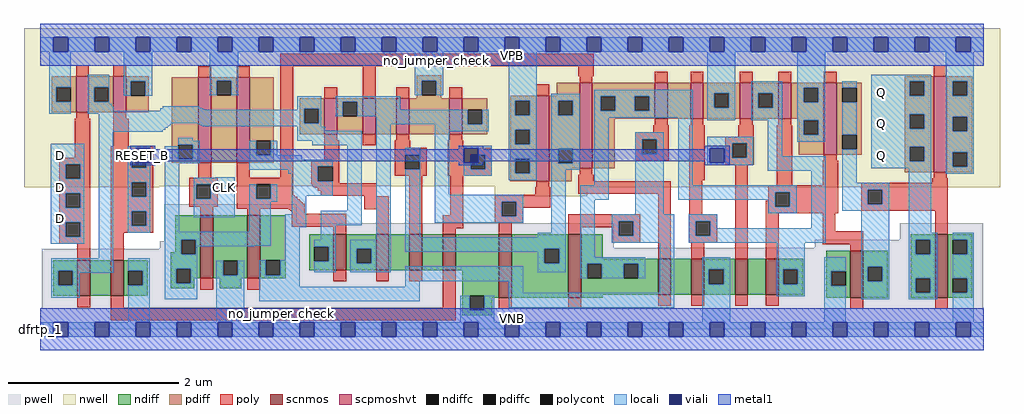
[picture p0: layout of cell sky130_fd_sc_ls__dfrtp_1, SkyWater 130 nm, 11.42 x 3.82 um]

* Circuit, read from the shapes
.subckt sky130_fd_sc_ls__dfrtp_1 CLK D RESET_B VGND VNB VPB VPWR Q
XM1 n1 D n2 VNB sky130_fd_pr__nfet_01v8 w=0.42 l=0.15
XM2 VGND RESET_B n1 VNB sky130_fd_pr__nfet_01v8 w=0.42 l=0.15
XM3 VGND CLK n3 VNB sky130_fd_pr__nfet_01v8 w=0.74 l=0.15
XM4 n4 n3 VGND VNB sky130_fd_pr__nfet_01v8 w=0.74 l=0.15
XM5 n5 n3 n2 VNB sky130_fd_pr__nfet_01v8 w=0.42 l=0.15
XM6 n6 n4 n5 VNB sky130_fd_pr__nfet_01v8 w=0.42 l=0.15
XM7 n7 n8 n6 VNB sky130_fd_pr__nfet_01v8 w=0.42 l=0.15
XM8 VGND RESET_B n7 VNB sky130_fd_pr__nfet_01v8 w=0.42 l=0.15
XM9 n8 n5 VGND VNB sky130_fd_pr__nfet_01v8 w=0.74 l=0.15
XM10 n9 n4 n8 VNB sky130_fd_pr__nfet_01v8 w=0.74 l=0.15
XM11 n10 n3 n9 VNB sky130_fd_pr__nfet_01v8 w=0.42 l=0.15
XM12 VGND n11 n10 VNB sky130_fd_pr__nfet_01v8 w=0.42 l=0.15
XM13 n12 RESET_B VGND VNB sky130_fd_pr__nfet_01v8 w=0.42 l=0.15
XM14 n11 n9 n12 VNB sky130_fd_pr__nfet_01v8 w=0.42 l=0.15
XM15 n13 n9 VGND VNB sky130_fd_pr__nfet_01v8 w=0.55 l=0.15
XM16 VGND n13 Q VNB sky130_fd_pr__nfet_01v8 w=0.74 l=0.15
XM17 n2 D VPWR VPB sky130_fd_pr__pfet_01v8_hvt w=0.42 l=0.15
XM18 VPWR RESET_B n2 VPB sky130_fd_pr__pfet_01v8_hvt w=0.42 l=0.15
XM19 VPWR CLK n3 VPB sky130_fd_pr__pfet_01v8_hvt w=1 l=0.15
XM20 n4 n3 VPWR VPB sky130_fd_pr__pfet_01v8_hvt w=1 l=0.15
XM21 n5 n4 n2 VPB sky130_fd_pr__pfet_01v8_hvt w=0.42 l=0.15
XM22 n14 n3 n5 VPB sky130_fd_pr__pfet_01v8_hvt w=0.42 l=0.15
XM23 VPWR n8 n14 VPB sky130_fd_pr__pfet_01v8_hvt w=0.42 l=0.15
XM24 n5 RESET_B VPWR VPB sky130_fd_pr__pfet_01v8_hvt w=0.42 l=0.15
XM25 n8 n5 VPWR VPB sky130_fd_pr__pfet_01v8_hvt w=1 l=0.15
XM26 n9 n3 n8 VPB sky130_fd_pr__pfet_01v8_hvt w=1 l=0.15
XM27 n15 n4 n9 VPB sky130_fd_pr__pfet_01v8_hvt w=0.42 l=0.15
XM28 VPWR n11 n15 VPB sky130_fd_pr__pfet_01v8_hvt w=0.42 l=0.15
XM29 n11 RESET_B VPWR VPB sky130_fd_pr__pfet_01v8_hvt w=0.42 l=0.15
XM30 VPWR n9 n11 VPB sky130_fd_pr__pfet_01v8_hvt w=0.42 l=0.15
XM31 n13 n9 VPWR VPB sky130_fd_pr__pfet_01v8_hvt w=0.84 l=0.15
XM32 VPWR n13 Q VPB sky130_fd_pr__pfet_01v8_hvt w=1.12 l=0.15
.ends

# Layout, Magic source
magic
tech sky130A
magscale 1 2
<< nwell >>
rect -38 335 2246 704
rect -38 332 278 335
rect 1064 332 2246 335
rect 1064 311 1280 332
<< pwell >>
rect 290 248 600 293
rect 290 206 1342 248
rect 2011 210 2207 248
rect 280 191 1342 206
rect 1813 191 2207 210
rect 280 188 2207 191
rect 4 49 2207 188
rect 0 0 2208 49
<< scnmos >>
rect 87 78 117 162
rect 165 78 195 162
rect 375 119 405 267
rect 485 119 515 267
rect 686 138 716 222
rect 786 138 816 222
rect 864 138 894 222
rect 942 138 972 222
rect 1073 74 1103 222
rect 1236 74 1266 222
rect 1446 81 1476 165
rect 1524 81 1554 165
rect 1626 81 1656 165
rect 1698 81 1728 165
rect 1896 74 1926 184
rect 2094 74 2124 222
<< scpmoshvt >>
rect 84 508 114 592
rect 171 508 201 592
rect 370 390 400 590
rect 460 390 490 590
rect 665 457 695 541
rect 755 457 785 541
rect 833 457 863 541
rect 957 457 987 541
rect 1161 347 1191 547
rect 1262 377 1292 577
rect 1438 493 1468 577
rect 1522 493 1552 577
rect 1637 493 1667 577
rect 1727 493 1757 577
rect 1834 409 1864 577
rect 2091 368 2121 592
<< ndiff >>
rect 316 210 375 267
rect 316 180 330 210
rect 306 176 330 180
rect 364 176 375 210
rect 30 137 87 162
rect 30 103 42 137
rect 76 103 87 137
rect 30 78 87 103
rect 117 78 165 162
rect 195 137 252 162
rect 195 103 206 137
rect 240 103 252 137
rect 195 78 252 103
rect 306 142 375 176
rect 306 108 318 142
rect 352 119 375 142
rect 405 160 485 267
rect 405 126 428 160
rect 462 126 485 160
rect 405 119 485 126
rect 515 161 574 267
rect 515 127 528 161
rect 562 127 574 161
rect 629 193 686 222
rect 629 159 641 193
rect 675 159 686 193
rect 629 138 686 159
rect 716 189 786 222
rect 716 155 741 189
rect 775 155 786 189
rect 716 138 786 155
rect 816 138 864 222
rect 894 138 942 222
rect 972 138 1073 222
rect 515 119 574 127
rect 352 108 360 119
rect 306 96 360 108
rect 420 96 470 119
rect 987 79 1073 138
rect 987 45 1005 79
rect 1039 74 1073 79
rect 1103 188 1236 222
rect 1103 154 1180 188
rect 1214 154 1236 188
rect 1103 74 1236 154
rect 1266 165 1316 222
rect 2037 210 2094 222
rect 1266 153 1446 165
rect 1266 119 1280 153
rect 1314 119 1366 153
rect 1400 119 1446 153
rect 1266 81 1446 119
rect 1476 81 1524 165
rect 1554 140 1626 165
rect 1554 106 1565 140
rect 1599 106 1626 140
rect 1554 81 1626 106
rect 1656 81 1698 165
rect 1728 140 1785 165
rect 1728 106 1739 140
rect 1773 106 1785 140
rect 1728 81 1785 106
rect 1839 136 1896 184
rect 1839 102 1851 136
rect 1885 102 1896 136
rect 1266 74 1316 81
rect 1039 45 1058 74
rect 1839 74 1896 102
rect 1926 146 1983 184
rect 1926 112 1937 146
rect 1971 112 1983 146
rect 1926 74 1983 112
rect 2037 176 2049 210
rect 2083 176 2094 210
rect 2037 120 2094 176
rect 2037 86 2049 120
rect 2083 86 2094 120
rect 2037 74 2094 86
rect 2124 210 2181 222
rect 2124 176 2135 210
rect 2169 176 2181 210
rect 2124 120 2181 176
rect 2124 86 2135 120
rect 2169 86 2181 120
rect 2124 74 2181 86
rect 987 33 1058 45
<< pdiff >>
rect 27 567 84 592
rect 27 533 37 567
rect 71 533 84 567
rect 27 508 84 533
rect 114 567 171 592
rect 114 533 126 567
rect 160 533 171 567
rect 114 508 171 533
rect 201 580 254 592
rect 201 546 212 580
rect 246 546 254 580
rect 201 508 254 546
rect 308 432 370 590
rect 308 398 323 432
rect 357 398 370 432
rect 308 390 370 398
rect 400 582 460 590
rect 400 548 413 582
rect 447 548 460 582
rect 400 390 460 548
rect 490 441 547 590
rect 490 407 505 441
rect 539 407 547 441
rect 490 390 547 407
rect 881 582 939 594
rect 881 548 893 582
rect 927 548 939 582
rect 2023 580 2091 592
rect 881 541 939 548
rect 1209 547 1262 577
rect 607 516 665 541
rect 607 482 618 516
rect 652 482 665 516
rect 607 457 665 482
rect 695 533 755 541
rect 695 499 708 533
rect 742 499 755 533
rect 695 457 755 499
rect 785 457 833 541
rect 863 457 957 541
rect 987 514 1046 541
rect 987 480 1000 514
rect 1034 480 1046 514
rect 987 457 1046 480
rect 1100 535 1161 547
rect 1100 501 1112 535
rect 1146 501 1161 535
rect 1100 467 1161 501
rect 1100 433 1112 467
rect 1146 433 1161 467
rect 1100 399 1161 433
rect 1100 365 1112 399
rect 1146 365 1161 399
rect 1100 347 1161 365
rect 1191 535 1262 547
rect 1191 501 1212 535
rect 1246 501 1262 535
rect 1191 423 1262 501
rect 1191 389 1212 423
rect 1246 389 1262 423
rect 1191 377 1262 389
rect 1292 545 1438 577
rect 1292 511 1312 545
rect 1346 511 1391 545
rect 1425 511 1438 545
rect 1292 493 1438 511
rect 1468 493 1522 577
rect 1552 552 1637 577
rect 1552 518 1577 552
rect 1611 518 1637 552
rect 1552 493 1637 518
rect 1667 552 1727 577
rect 1667 518 1680 552
rect 1714 518 1727 552
rect 1667 493 1727 518
rect 1757 565 1834 577
rect 1757 531 1787 565
rect 1821 531 1834 565
rect 1757 493 1834 531
rect 1292 377 1345 493
rect 1775 489 1834 493
rect 1191 347 1244 377
rect 1775 455 1787 489
rect 1821 455 1834 489
rect 1775 409 1834 455
rect 1864 565 1923 577
rect 1864 531 1877 565
rect 1911 531 1923 565
rect 1864 455 1923 531
rect 1864 421 1877 455
rect 1911 421 1923 455
rect 1864 409 1923 421
rect 2023 546 2035 580
rect 2069 546 2091 580
rect 2023 503 2091 546
rect 2023 469 2035 503
rect 2069 469 2091 503
rect 2023 427 2091 469
rect 2023 393 2035 427
rect 2069 393 2091 427
rect 2023 368 2091 393
rect 2121 580 2181 592
rect 2121 546 2135 580
rect 2169 546 2181 580
rect 2121 497 2181 546
rect 2121 463 2135 497
rect 2169 463 2181 497
rect 2121 414 2181 463
rect 2121 380 2135 414
rect 2169 380 2181 414
rect 2121 368 2181 380
<< ndiffc >>
rect 330 176 364 210
rect 42 103 76 137
rect 206 103 240 137
rect 318 108 352 142
rect 428 126 462 160
rect 528 127 562 161
rect 641 159 675 193
rect 741 155 775 189
rect 1005 45 1039 79
rect 1180 154 1214 188
rect 1280 119 1314 153
rect 1366 119 1400 153
rect 1565 106 1599 140
rect 1739 106 1773 140
rect 1851 102 1885 136
rect 1937 112 1971 146
rect 2049 176 2083 210
rect 2049 86 2083 120
rect 2135 176 2169 210
rect 2135 86 2169 120
<< pdiffc >>
rect 37 533 71 567
rect 126 533 160 567
rect 212 546 246 580
rect 323 398 357 432
rect 413 548 447 582
rect 505 407 539 441
rect 893 548 927 582
rect 618 482 652 516
rect 708 499 742 533
rect 1000 480 1034 514
rect 1112 501 1146 535
rect 1112 433 1146 467
rect 1112 365 1146 399
rect 1212 501 1246 535
rect 1212 389 1246 423
rect 1312 511 1346 545
rect 1391 511 1425 545
rect 1577 518 1611 552
rect 1680 518 1714 552
rect 1787 531 1821 565
rect 1787 455 1821 489
rect 1877 531 1911 565
rect 1877 421 1911 455
rect 2035 546 2069 580
rect 2035 469 2069 503
rect 2035 393 2069 427
rect 2135 546 2169 580
rect 2135 463 2169 497
rect 2135 380 2169 414
<< poly >>
rect 84 592 114 618
rect 171 592 201 618
rect 370 590 400 616
rect 460 590 490 616
rect 562 615 1295 645
rect 84 493 114 508
rect 171 493 201 508
rect 81 402 117 493
rect 171 428 207 493
rect 44 386 117 402
rect 44 352 60 386
rect 94 352 117 386
rect 44 318 117 352
rect 44 284 60 318
rect 94 284 117 318
rect 44 250 117 284
rect 44 216 60 250
rect 94 216 117 250
rect 44 200 117 216
rect 87 162 117 200
rect 165 412 264 428
rect 165 378 214 412
rect 248 378 264 412
rect 165 344 264 378
rect 370 355 400 390
rect 460 355 490 390
rect 562 355 592 615
rect 665 541 695 567
rect 755 541 785 615
rect 1259 592 1295 615
rect 833 541 863 567
rect 1262 577 1292 592
rect 1438 577 1468 603
rect 1522 577 1552 603
rect 1637 577 1667 603
rect 1727 577 1757 603
rect 1834 577 1864 603
rect 2091 592 2121 618
rect 957 541 987 567
rect 1161 547 1191 573
rect 665 442 695 457
rect 665 397 700 442
rect 755 431 785 457
rect 833 442 863 457
rect 957 442 987 457
rect 165 310 214 344
rect 248 310 264 344
rect 165 276 264 310
rect 349 339 415 355
rect 349 305 365 339
rect 399 305 415 339
rect 349 287 415 305
rect 460 339 592 355
rect 634 381 700 397
rect 634 347 650 381
rect 684 347 700 381
rect 830 425 866 442
rect 954 425 990 442
rect 830 409 904 425
rect 830 375 854 409
rect 888 375 904 409
rect 830 359 904 375
rect 954 409 1057 425
rect 954 375 1007 409
rect 1041 375 1057 409
rect 954 359 1057 375
rect 634 342 700 347
rect 634 339 788 342
rect 460 305 505 339
rect 539 314 592 339
rect 636 335 788 339
rect 638 333 788 335
rect 642 331 788 333
rect 649 324 788 331
rect 539 310 596 314
rect 657 312 788 324
rect 758 311 788 312
rect 539 306 601 310
rect 539 305 603 306
rect 460 304 603 305
rect 460 302 607 304
rect 460 300 609 302
rect 460 297 611 300
rect 460 294 614 297
rect 165 242 214 276
rect 248 242 264 276
rect 375 267 405 287
rect 460 282 619 294
rect 485 267 515 282
rect 582 280 619 282
rect 758 281 816 311
rect 585 278 619 280
rect 587 276 619 278
rect 589 270 619 276
rect 165 226 264 242
rect 165 162 195 226
rect 589 240 716 270
rect 686 222 716 240
rect 786 222 816 281
rect 864 222 894 359
rect 960 267 990 359
rect 1438 478 1468 493
rect 1522 478 1552 493
rect 1637 478 1667 493
rect 1727 478 1757 493
rect 1435 461 1471 478
rect 1393 445 1471 461
rect 1393 411 1409 445
rect 1443 411 1471 445
rect 1393 395 1471 411
rect 1262 362 1292 377
rect 1259 347 1295 362
rect 1519 349 1555 478
rect 1634 451 1670 478
rect 1603 435 1670 451
rect 1603 401 1619 435
rect 1653 401 1670 435
rect 1603 385 1670 401
rect 1161 332 1191 347
rect 1158 315 1194 332
rect 1259 317 1476 347
rect 942 237 990 267
rect 1064 299 1194 315
rect 1064 265 1080 299
rect 1114 285 1194 299
rect 1114 265 1130 285
rect 1064 249 1130 265
rect 1236 253 1404 269
rect 942 222 972 237
rect 1073 222 1103 249
rect 1236 239 1354 253
rect 1236 222 1266 239
rect 375 93 405 119
rect 485 93 515 119
rect 686 112 716 138
rect 786 112 816 138
rect 864 112 894 138
rect 87 52 117 78
rect 165 51 195 78
rect 942 51 972 138
rect 165 21 972 51
rect 1338 219 1354 239
rect 1388 219 1404 253
rect 1338 203 1404 219
rect 1446 165 1476 317
rect 1519 269 1549 349
rect 1518 253 1584 269
rect 1518 219 1534 253
rect 1568 219 1584 253
rect 1518 203 1584 219
rect 1524 165 1554 203
rect 1626 165 1656 385
rect 1724 337 1760 478
rect 1834 394 1864 409
rect 1831 337 1867 394
rect 2091 353 2121 368
rect 2088 343 2124 353
rect 1704 321 1867 337
rect 1704 301 1720 321
rect 1698 287 1720 301
rect 1754 287 1867 321
rect 1698 271 1867 287
rect 1921 327 2124 343
rect 1921 293 1937 327
rect 1971 293 2124 327
rect 1921 277 2124 293
rect 1698 165 1728 271
rect 1831 229 1861 271
rect 1831 199 1926 229
rect 2094 222 2124 277
rect 1896 184 1926 199
rect 1073 48 1103 74
rect 1236 48 1266 74
rect 1446 55 1476 81
rect 1524 55 1554 81
rect 1626 55 1656 81
rect 1698 55 1728 81
rect 1896 48 1926 74
rect 2094 48 2124 74
<< polycont >>
rect 60 352 94 386
rect 60 284 94 318
rect 60 216 94 250
rect 214 378 248 412
rect 214 310 248 344
rect 365 305 399 339
rect 650 347 684 381
rect 854 375 888 409
rect 1007 375 1041 409
rect 505 305 539 339
rect 214 242 248 276
rect 1409 411 1443 445
rect 1619 401 1653 435
rect 1080 265 1114 299
rect 1354 219 1388 253
rect 1534 219 1568 253
rect 1720 287 1754 321
rect 1937 293 1971 327
<< locali >>
rect 0 649 31 683
rect 65 649 127 683
rect 161 649 223 683
rect 257 649 319 683
rect 353 649 415 683
rect 449 649 511 683
rect 545 649 607 683
rect 641 649 703 683
rect 737 649 799 683
rect 833 649 895 683
rect 929 649 991 683
rect 1025 649 1087 683
rect 1121 649 1183 683
rect 1217 649 1279 683
rect 1313 649 1375 683
rect 1409 649 1471 683
rect 1505 649 1567 683
rect 1601 649 1663 683
rect 1697 649 1759 683
rect 1793 649 1855 683
rect 1889 649 1951 683
rect 1985 649 2047 683
rect 2081 649 2143 683
rect 2177 649 2208 683
rect 21 567 71 649
rect 21 533 37 567
rect 21 504 71 533
rect 111 567 162 596
rect 111 533 126 567
rect 160 533 162 567
rect 196 580 262 649
rect 196 546 212 580
rect 246 546 262 580
rect 397 582 463 649
rect 397 548 413 582
rect 447 548 463 582
rect 877 582 943 649
rect 877 548 893 582
rect 927 548 943 582
rect 111 528 162 533
rect 111 521 167 528
rect 111 512 172 521
rect 287 518 372 522
rect 287 517 378 518
rect 281 516 378 517
rect 602 516 658 545
rect 281 515 382 516
rect 281 514 385 515
rect 602 514 618 516
rect 281 512 618 514
rect 111 504 618 512
rect 137 482 618 504
rect 652 482 658 516
rect 692 533 843 545
rect 692 499 708 533
rect 742 514 843 533
rect 1096 535 1162 649
rect 742 499 1000 514
rect 137 478 306 482
rect 367 481 658 482
rect 370 480 658 481
rect 374 478 658 480
rect 137 475 302 478
rect 379 475 658 478
rect 137 472 298 475
rect 602 474 658 475
rect 786 480 1000 499
rect 1034 480 1050 514
rect 137 467 293 472
rect 137 462 287 467
rect 602 465 667 474
rect 25 386 103 434
rect 25 352 60 386
rect 94 352 103 386
rect 25 318 103 352
rect 25 284 60 318
rect 94 284 103 318
rect 25 250 103 284
rect 25 216 60 250
rect 94 216 103 250
rect 25 200 103 216
rect 137 166 171 462
rect 323 441 357 448
rect 602 441 752 465
rect 323 432 373 441
rect 205 424 257 428
rect 205 412 223 424
rect 205 378 214 412
rect 248 378 257 390
rect 205 344 257 378
rect 205 310 214 344
rect 248 310 257 344
rect 205 276 257 310
rect 205 242 214 276
rect 248 242 257 276
rect 205 226 257 242
rect 291 398 323 428
rect 357 398 373 432
rect 291 389 373 398
rect 489 407 505 441
rect 539 407 555 441
rect 637 431 752 441
rect 489 397 612 407
rect 291 228 325 389
rect 489 381 684 397
rect 489 373 650 381
rect 580 364 650 373
rect 409 355 455 356
rect 359 339 455 355
rect 589 347 650 364
rect 359 305 365 339
rect 399 305 455 339
rect 359 262 455 305
rect 489 305 505 339
rect 539 305 555 339
rect 489 298 555 305
rect 589 312 684 347
rect 489 228 539 298
rect 589 269 623 312
rect 718 278 752 431
rect 291 210 539 228
rect 291 176 330 210
rect 364 195 539 210
rect 573 239 623 269
rect 657 244 752 278
rect 364 194 501 195
rect 364 176 368 194
rect 26 137 171 166
rect 26 103 42 137
rect 76 132 171 137
rect 206 137 256 166
rect 76 103 92 132
rect 26 74 92 103
rect 240 103 256 137
rect 206 17 256 103
rect 291 142 368 176
rect 573 161 607 239
rect 657 209 691 244
rect 786 210 820 480
rect 923 464 1050 480
rect 1096 501 1112 535
rect 1146 501 1162 535
rect 1096 467 1162 501
rect 291 108 318 142
rect 352 108 368 142
rect 291 70 368 108
rect 412 126 428 160
rect 462 126 478 160
rect 412 17 478 126
rect 512 127 528 161
rect 562 127 607 161
rect 641 193 691 209
rect 675 159 691 193
rect 641 134 691 159
rect 725 189 820 210
rect 725 155 741 189
rect 775 155 820 189
rect 854 409 889 425
rect 888 375 889 409
rect 854 215 889 375
rect 923 315 957 464
rect 1096 433 1112 467
rect 1146 433 1162 467
rect 991 424 1057 430
rect 1025 409 1057 424
rect 991 375 1007 390
rect 1041 375 1057 409
rect 991 359 1057 375
rect 1096 399 1162 433
rect 1096 365 1112 399
rect 1146 365 1162 399
rect 1096 349 1162 365
rect 1196 535 1262 551
rect 1196 501 1212 535
rect 1246 501 1262 535
rect 1196 423 1262 501
rect 1196 389 1212 423
rect 1246 389 1262 423
rect 1196 373 1262 389
rect 1296 545 1527 561
rect 1296 511 1312 545
rect 1346 511 1391 545
rect 1425 511 1527 545
rect 1296 495 1527 511
rect 923 299 1130 315
rect 923 265 1080 299
rect 1114 265 1130 299
rect 923 249 1130 265
rect 1196 226 1230 373
rect 1296 337 1330 495
rect 1164 215 1230 226
rect 854 188 1230 215
rect 854 181 1180 188
rect 725 134 820 155
rect 1164 154 1180 181
rect 1214 154 1230 188
rect 512 100 607 127
rect 854 113 1130 147
rect 1164 133 1230 154
rect 1264 303 1330 337
rect 1393 445 1459 461
rect 1393 411 1409 445
rect 1443 411 1459 445
rect 1264 169 1298 303
rect 1393 269 1459 411
rect 1493 337 1527 495
rect 1561 552 1627 649
rect 1561 518 1577 552
rect 1611 518 1627 552
rect 1561 489 1627 518
rect 1664 552 1737 581
rect 1664 518 1680 552
rect 1714 518 1737 552
rect 1664 489 1737 518
rect 1561 435 1669 451
rect 1561 424 1619 435
rect 1561 390 1567 424
rect 1601 401 1619 424
rect 1653 401 1669 435
rect 1601 390 1669 401
rect 1561 384 1669 390
rect 1703 405 1737 489
rect 1771 565 1837 649
rect 1771 531 1787 565
rect 1821 531 1837 565
rect 1771 489 1837 531
rect 1771 455 1787 489
rect 1821 455 1837 489
rect 1771 439 1837 455
rect 1877 565 1911 581
rect 1877 455 1911 531
rect 1703 371 1838 405
rect 1493 321 1770 337
rect 1493 303 1720 321
rect 1704 287 1720 303
rect 1754 287 1770 321
rect 1704 271 1770 287
rect 1338 253 1484 269
rect 1338 219 1354 253
rect 1388 219 1484 253
rect 1338 203 1484 219
rect 1518 253 1584 269
rect 1518 219 1534 253
rect 1568 237 1584 253
rect 1804 237 1838 371
rect 1877 343 1911 421
rect 1945 580 2085 596
rect 1945 546 2035 580
rect 2069 546 2085 580
rect 1945 503 2085 546
rect 1945 469 2035 503
rect 2069 469 2085 503
rect 1945 427 2085 469
rect 1945 393 2035 427
rect 2069 393 2085 427
rect 1945 377 2085 393
rect 1877 327 1987 343
rect 1877 293 1937 327
rect 1971 293 1987 327
rect 1877 277 1987 293
rect 1568 219 1838 237
rect 1518 203 1838 219
rect 1264 153 1416 169
rect 1264 119 1280 153
rect 1314 119 1366 153
rect 1400 119 1416 153
rect 854 100 888 113
rect 512 66 888 100
rect 1096 85 1130 113
rect 1450 85 1484 203
rect 983 45 1005 79
rect 1039 45 1062 79
rect 1096 51 1484 85
rect 1549 140 1615 169
rect 1549 106 1565 140
rect 1599 106 1615 140
rect 983 17 1062 45
rect 1549 17 1615 106
rect 1723 140 1789 203
rect 1723 106 1739 140
rect 1773 106 1789 140
rect 1723 77 1789 106
rect 1835 136 1885 169
rect 1835 102 1851 136
rect 1835 17 1885 102
rect 1921 146 1987 277
rect 1921 112 1937 146
rect 1971 112 1987 146
rect 1921 70 1987 112
rect 2033 226 2085 377
rect 2119 580 2185 649
rect 2119 546 2135 580
rect 2169 546 2185 580
rect 2119 497 2185 546
rect 2119 463 2135 497
rect 2169 463 2185 497
rect 2119 414 2185 463
rect 2119 380 2135 414
rect 2169 380 2185 414
rect 2119 364 2185 380
rect 2033 210 2099 226
rect 2033 176 2049 210
rect 2083 176 2099 210
rect 2033 120 2099 176
rect 2033 86 2049 120
rect 2083 86 2099 120
rect 2033 70 2099 86
rect 2135 210 2185 226
rect 2169 176 2185 210
rect 2135 120 2185 176
rect 2169 86 2185 120
rect 2135 17 2185 86
rect 0 -17 31 17
rect 65 -17 127 17
rect 161 -17 223 17
rect 257 -17 319 17
rect 353 -17 415 17
rect 449 -17 511 17
rect 545 -17 607 17
rect 641 -17 703 17
rect 737 -17 799 17
rect 833 -17 895 17
rect 929 -17 991 17
rect 1025 -17 1087 17
rect 1121 -17 1183 17
rect 1217 -17 1279 17
rect 1313 -17 1375 17
rect 1409 -17 1471 17
rect 1505 -17 1567 17
rect 1601 -17 1663 17
rect 1697 -17 1759 17
rect 1793 -17 1855 17
rect 1889 -17 1951 17
rect 1985 -17 2047 17
rect 2081 -17 2143 17
rect 2177 -17 2208 17
<< viali >>
rect 31 649 65 683
rect 127 649 161 683
rect 223 649 257 683
rect 319 649 353 683
rect 415 649 449 683
rect 511 649 545 683
rect 607 649 641 683
rect 703 649 737 683
rect 799 649 833 683
rect 895 649 929 683
rect 991 649 1025 683
rect 1087 649 1121 683
rect 1183 649 1217 683
rect 1279 649 1313 683
rect 1375 649 1409 683
rect 1471 649 1505 683
rect 1567 649 1601 683
rect 1663 649 1697 683
rect 1759 649 1793 683
rect 1855 649 1889 683
rect 1951 649 1985 683
rect 2047 649 2081 683
rect 2143 649 2177 683
rect 223 412 257 424
rect 223 390 248 412
rect 248 390 257 412
rect 991 409 1025 424
rect 991 390 1007 409
rect 1007 390 1025 409
rect 1567 390 1601 424
rect 31 -17 65 17
rect 127 -17 161 17
rect 223 -17 257 17
rect 319 -17 353 17
rect 415 -17 449 17
rect 511 -17 545 17
rect 607 -17 641 17
rect 703 -17 737 17
rect 799 -17 833 17
rect 895 -17 929 17
rect 991 -17 1025 17
rect 1087 -17 1121 17
rect 1183 -17 1217 17
rect 1279 -17 1313 17
rect 1375 -17 1409 17
rect 1471 -17 1505 17
rect 1567 -17 1601 17
rect 1663 -17 1697 17
rect 1759 -17 1793 17
rect 1855 -17 1889 17
rect 1951 -17 1985 17
rect 2047 -17 2081 17
rect 2143 -17 2177 17
<< metal1 >>
rect 0 683 2208 715
rect 0 649 31 683
rect 65 649 127 683
rect 161 649 223 683
rect 257 649 319 683
rect 353 649 415 683
rect 449 649 511 683
rect 545 649 607 683
rect 641 649 703 683
rect 737 649 799 683
rect 833 649 895 683
rect 929 649 991 683
rect 1025 649 1087 683
rect 1121 649 1183 683
rect 1217 649 1279 683
rect 1313 649 1375 683
rect 1409 649 1471 683
rect 1505 649 1567 683
rect 1601 649 1663 683
rect 1697 649 1759 683
rect 1793 649 1855 683
rect 1889 649 1951 683
rect 1985 649 2047 683
rect 2081 649 2143 683
rect 2177 649 2208 683
rect 0 617 2208 649
rect 211 424 269 430
rect 211 390 223 424
rect 257 421 269 424
rect 979 424 1037 430
rect 979 421 991 424
rect 257 393 991 421
rect 257 390 269 393
rect 211 384 269 390
rect 979 390 991 393
rect 1025 421 1037 424
rect 1555 424 1613 430
rect 1555 421 1567 424
rect 1025 393 1567 421
rect 1025 390 1037 393
rect 979 384 1037 390
rect 1555 390 1567 393
rect 1601 390 1613 424
rect 1555 384 1613 390
rect 0 17 2208 49
rect 0 -17 31 17
rect 65 -17 127 17
rect 161 -17 223 17
rect 257 -17 319 17
rect 353 -17 415 17
rect 449 -17 511 17
rect 545 -17 607 17
rect 641 -17 703 17
rect 737 -17 799 17
rect 833 -17 895 17
rect 929 -17 991 17
rect 1025 -17 1087 17
rect 1121 -17 1183 17
rect 1217 -17 1279 17
rect 1313 -17 1375 17
rect 1409 -17 1471 17
rect 1505 -17 1567 17
rect 1601 -17 1663 17
rect 1697 -17 1759 17
rect 1793 -17 1855 17
rect 1889 -17 1951 17
rect 1985 -17 2047 17
rect 2081 -17 2143 17
rect 2177 -17 2208 17
rect 0 -49 2208 -17
<< labels >>
rlabel comment s 0 0 0 0 4 dfrtp_1
flabel comment s 927 630 927 630 0 FreeSans 300 0 0 0 no_jumper_check
flabel comment s 565 36 565 36 0 FreeSans 300 0 0 0 no_jumper_check
flabel pwell s 0 0 2208 49 0 FreeSans 200 0 0 0 VNB
port 5 nsew ground bidirectional
flabel nwell s 0 617 2208 666 0 FreeSans 200 0 0 0 VPB
port 6 nsew power bidirectional
flabel metal1 s 223 390 257 424 0 FreeSans 340 0 0 0 RESET_B
port 3 nsew signal input
flabel metal1 s 0 617 2208 666 0 FreeSans 340 0 0 0 VPWR
port 7 nsew power bidirectional abutment
flabel metal1 s 0 0 2208 49 0 FreeSans 340 0 0 0 VGND
port 4 nsew ground bidirectional abutment
flabel locali s 1951 390 1985 424 0 FreeSans 340 0 0 0 Q
port 8 nsew signal output
flabel locali s 1951 464 1985 498 0 FreeSans 340 0 0 0 Q
port 8 nsew signal output
flabel locali s 1951 538 1985 572 0 FreeSans 340 0 0 0 Q
port 8 nsew signal output
flabel locali s 415 316 449 350 0 FreeSans 340 0 0 0 CLK
port 1 nsew clock input
flabel locali s 31 242 65 276 0 FreeSans 340 0 0 0 D
port 2 nsew signal input
flabel locali s 31 316 65 350 0 FreeSans 340 0 0 0 D
port 2 nsew signal input
flabel locali s 31 390 65 424 0 FreeSans 340 0 0 0 D
port 2 nsew signal input
<< properties >>
string LEFsite unit
string LEFclass CORE
string FIXED_BBOX 0 0 2208 666
string GDS_FILE $PDKPATH/libs.ref/sky130_fd_sc_ls/gds/sky130_fd_sc_ls.gds
string LEFsymmetry X Y R90
string GDS_END 528318
string GDS_START 509344
<< end >>
